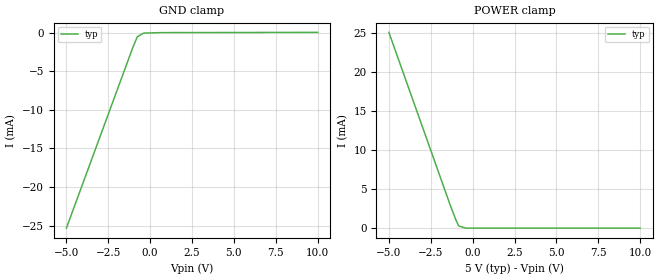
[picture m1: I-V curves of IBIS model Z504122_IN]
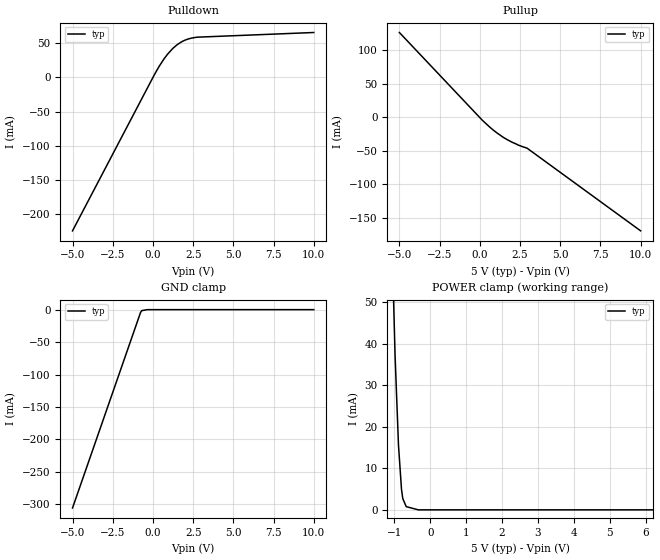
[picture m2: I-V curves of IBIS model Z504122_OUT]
| YOU ARE ONLY AUTHORIZED TO USE THIS SOFTWARE
| ACCORDING TO LICENSOR'S LICENSE RESTRICTIONS.
[IBIS Ver] 3.1
[File Name] mc54hc74aj.ibs
[File Rev] 2.0
[Source] Measured and created by ICX Technology
[Date] Friday 7/14/00 9:08:07 AM
[Copyright]
| (C) COPYRIGHT 1993-2000
| MENTOR GRAPHICS CORPORATION
| ICX STANDARD LIBRARY, ICX PROJECT MODELING,
| ICX CUSTOM MODELING, ICX VENDOR MODEL
| ALL RIGHTS RESERVED.
| THE FOLLOWING ARE TRADEMARKS OR SERVICE MARKS OF
| MENTOR GRAPHICS CORPORATION:ICX (R), ICX STANDARD
| LIBRARY(R), ICX PROJECT MODELING(R), ICX CUSTOM
| MODELING(R), qualityIBIS(TM), MODELVIEWER(TM),
| AND MODELEDITOR(TM)
| ALL COPIES OF SOFTWARE, INCLUDING BUT NOT LIMITED TO
| ANY MODIFICATIONS, ENHANCEMENTS OR DERIVATIVE WORKS,
| MUST CONTAIN ALL MENTOR GRAPHICS CORPORATION'S
| NOTICES AND LEGENDS, INCLUDING THOSE EMBEDDED IN
| SOFTWARE AND THOSE AFFIXED TO SOFTWARE MEDIUM
| AND CONTAINER, AS RECEIVED FROM MENTOR GRAPHICS
| CORPORATION.
|  ZAP Model Builder 2.7
[Component] MC54HC74AJ
[Manufacturer] OnSemiconductor
[Package]
| variable   typ   min   max
R_pkg  .21ohms NA NA
L_pkg  4.543nH NA NA
C_pkg  1.8pF NA NA
[Pin] signal_name  model_name  R_pin  L_pin C_pin
1 _CLR Z504122_IN .22 6.757n 2.434p
2 D Z504122_IN .212 4.757n 1.941p
3 CLK Z504122_IN .204 3.257n 1.448p
4 _PRE Z504122_IN .196 2.257n .955p
5 Q Z504122_OUT .204 3.257n 1.448p
6 _Q Z504122_OUT .212 4.757n 1.941p
7 GND GND .22 6.757n 2.434p
8 _Q Z504122_OUT .22 6.757n 2.434p
9 Q Z504122_OUT .212 4.757n 1.941p
10 _PRE Z504122_IN .204 3.257n 1.448p
11 CLK Z504122_IN .196 2.257n .955p
12 D Z504122_IN .204 3.257n 1.448p
13 _CLR Z504122_IN .212 4.757n 1.941p
14 VCC POWER .22 6.757n 2.434p
| Models and submodels in the file (2): Z504122_IN (Input), Z504122_OUT (Output)
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| (C) COPYRIGHT 1993-2000
| MENTOR GRAPHICS CORPORATION
| ICX STANDARD LIBRARY, ICX PROJECT MODELING,
| ICX CUSTOM MODELING, ICX VENDOR MODEL
| ALL RIGHTS RESERVED.
| THE FOLLOWING ARE TRADEMARKS OR SERVICE MARKS OF
| MENTOR GRAPHICS CORPORATION:ICX (R), ICX STANDARD
| LIBRARY(R), ICX PROJECT MODELING(R), ICX CUSTOM
| MODELING(R), qualityIBIS(TM), MODELVIEWER(TM),
| AND MODELEDITOR(TM)
| ALL COPIES OF SOFTWARE, INCLUDING BUT NOT LIMITED TO
| ANY MODIFICATIONS, ENHANCEMENTS OR DERIVATIVE WORKS,
| MUST CONTAIN ALL MENTOR GRAPHICS CORPORATION'S
| NOTICES AND LEGENDS, INCLUDING THOSE EMBEDDED IN
| SOFTWARE AND THOSE AFFIXED TO SOFTWARE MEDIUM
| AND CONTAINER, AS RECEIVED FROM MENTOR GRAPHICS
| CORPORATION.
| Model Application Version 1.89 2/18/99.
[Model] Z504122_IN
Model_type Input
Vinl = 1.000V
Vinh = 3.500V
C_comp 4.000pF NA NA
| variable typ   min   max
[Voltage Range] 5.000V NA NA
[GND Clamp Reference] 0.000V NA NA
[POWER Clamp Reference] 5.000V NA NA
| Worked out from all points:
|   POWER clamp passes 1 mA (typ) near -0.99 V on its own axis
[GND Clamp]
-5V       -25.32mA   NA         NA
-1.03V    -1.892mA   NA         NA
-766.4mV  -522.8uA   NA         NA
-383.2mV  -49.45uA   NA         NA
647.1mV   12.56uA    NA         NA
10V       44.36uA    NA         NA
[POWER Clamp]
-5V       25.11mA    NA         NA
-1.343V   2.984mA    NA         NA
-1.006V   1.089mA    NA         NA
-835mV    290.1uA    NA         NA
-417.5mV  0A         NA         NA
10V       0A         NA         NA
| (C) COPYRIGHT 1993-2000
| MENTOR GRAPHICS CORPORATION
| ICX STANDARD LIBRARY, ICX PROJECT MODELING,
| ICX CUSTOM MODELING, ICX VENDOR MODEL
| ALL RIGHTS RESERVED.
| THE FOLLOWING ARE TRADEMARKS OR SERVICE MARKS OF
| MENTOR GRAPHICS CORPORATION:ICX (R), ICX STANDARD
| LIBRARY(R), ICX PROJECT MODELING(R), ICX CUSTOM
| MODELING(R), qualityIBIS(TM), MODELVIEWER(TM),
| AND MODELEDITOR(TM)
| ALL COPIES OF SOFTWARE, INCLUDING BUT NOT LIMITED TO
| ANY MODIFICATIONS, ENHANCEMENTS OR DERIVATIVE WORKS,
| MUST CONTAIN ALL MENTOR GRAPHICS CORPORATION'S
| NOTICES AND LEGENDS, INCLUDING THOSE EMBEDDED IN
| SOFTWARE AND THOSE AFFIXED TO SOFTWARE MEDIUM
| AND CONTAINER, AS RECEIVED FROM MENTOR GRAPHICS
| CORPORATION.
| Model Application Version 1.89 2/18/99.
[Model] Z504122_OUT
Model_type Output
Vref=0.000V
Rref=500.0Mohms
Cref=50.00pF
Vmeas=2.500V
C_comp 8.000pF NA NA
| variable typ   min   max
[Voltage Range] 5.000V NA NA
[POWER Clamp Reference] 5.000V NA NA
[Pullup Reference] 5.000V NA NA
[Pulldown Reference] 0.000V NA NA
[GND Clamp Reference] 0.000V NA NA
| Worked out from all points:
|   slope of the pulldown table from 0 to 0.75 V, typ, clamps not added: 25.8 ohm
|   slope of the pullup table from 0 to 0.75 V, typ, clamps not added: 44.4 ohm
|   POWER clamp passes 1 mA (typ) near -0.68 V on its own axis
[GND Clamp]
-5V       -305.6mA   NA         NA
-766.3mV  -4.106mA   NA         NA
-693.4mV  -1.515mA   NA         NA
-346.7mV  0A         NA         NA
10V       0A         NA         NA
[Pulldown]
-5V       -224.3mA   NA         NA
102.5mV   4.528mA    NA         NA
390.8mV   16.31mA    NA         NA
908.1mV   33.86mA    NA         NA
1.24V     42.48mA    NA         NA
1.511V    47.88mA    NA         NA
2.101V    55.43mA    NA         NA
2.735V    58.8mA     NA         NA
10V       65.66mA    NA         NA
[Pullup]
-5V       126.5mA    NA         NA
161mV     -4.714mA   NA         NA
859mV     -19.72mA   NA         NA
1.765V    -34.42mA   NA         NA
2.394V    -41.74mA   NA         NA
2.925V    -46.1mA    NA         NA
10V       -169.9mA   NA         NA
[POWER Clamp]
-5V       1.336A     NA         NA
-985mV    37.42mA    NA         NA
-889mV    15.6mA     NA         NA
-805mV    4.956mA    NA         NA
-769mV    2.712mA    NA         NA
-673mV    773.2uA    NA         NA
-336.5mV  0A         NA         NA
10V       0A         NA         NA
[Ramp]
| variable typ min max
dV/dt_r 2.779/516.9p NA NA
dV/dt_f 2.779/443.5p NA NA
R_load = 500.0Ohms
